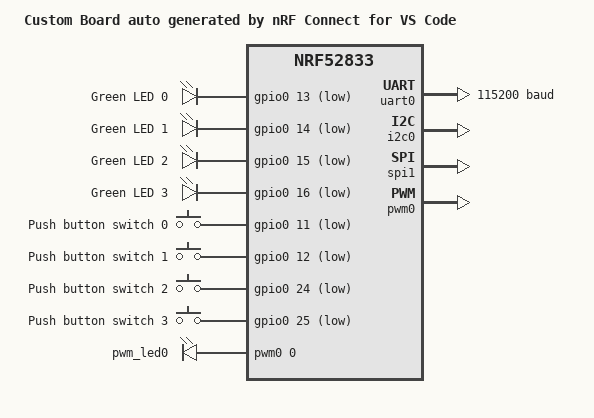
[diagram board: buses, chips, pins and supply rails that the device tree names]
/dts-v1/;
#include <nordic/nrf52833_qiaa.dtsi>
#include "devacademyl3e1-pinctrl.dtsi"
#include <zephyr/dt-bindings/input/input-event-codes.h>
/ {
	model = "Custom Board auto generated by nRF Connect for VS Code";
	compatible = "nordic,devacademyl3e1";

	chosen {
		zephyr,sram = &sram0;
		zephyr,flash = &flash0;
		zephyr,code-partition = &slot0_partition;
		zephyr,console =  &uart0 ;
		zephyr,shell-uart =  &uart0 ;
		zephyr,uart-mcumgr = &uart0;
	};


	leds {
		compatible = "gpio-leds";
		led0: led_0 {
			gpios = <&gpio0 13 GPIO_ACTIVE_LOW>;
			label = "Green LED 0";
		};
		led1: led_1 {
			gpios = <&gpio0 14 GPIO_ACTIVE_LOW>;
			label = "Green LED 1";
		};
		led2: led_2 {
			gpios = <&gpio0 15 GPIO_ACTIVE_LOW>;
			label = "Green LED 2";
		};
		led3: led_3 {
			gpios = <&gpio0 16 GPIO_ACTIVE_LOW>;
			label = "Green LED 3";
		};
	};	

	buttons {
		compatible = "gpio-keys";
		button0: button_0 {
			gpios = <&gpio0 11 (GPIO_PULL_UP | GPIO_ACTIVE_LOW)>;
			label = "Push button switch 0";
			zephyr,code = <INPUT_KEY_0>;
		};
		button1: button_1 {
			gpios = <&gpio0 12 (GPIO_PULL_UP | GPIO_ACTIVE_LOW)>;
			label = "Push button switch 1";
			zephyr,code = <INPUT_KEY_1>;
		};
		button2: button_2 {
			gpios = <&gpio0 24 (GPIO_PULL_UP | GPIO_ACTIVE_LOW)>;
			label = "Push button switch 2";
			zephyr,code = <INPUT_KEY_2>;
		};
		button3: button_3 {
			gpios = <&gpio0 25 (GPIO_PULL_UP | GPIO_ACTIVE_LOW)>;
			label = "Push button switch 3";
			zephyr,code = <INPUT_KEY_3>;
		};
	};

	pwmleds {
		compatible = "pwm-leds";
		pwm_led0: pwm_led_0 {
			pwms = <&pwm0 0 PWM_MSEC(20) PWM_POLARITY_INVERTED>;
		};
	};
	
	/* These aliases are provided for compatibility with samples */
	aliases {
		led0 = &led0;
		led1 = &led1;
		led2 = &led2;
		led3 = &led3;
		pwm-led0 = &pwm_led0;
		sw0 = &button0;
		sw1 = &button1;
		sw2 = &button2;
		sw3 = &button3;
		bootloader-led0 = &led0;
		mcuboot-button0 = &button0;
		mcuboot-led0 = &led0;
		watchdog0 = &wdt0;
	};		
};




&flash0 {
	partitions {
		compatible = "fixed-partitions";
		#address-cells = <1>;
		#size-cells = <1>;

		boot_partition: partition@0 {
			label = "mcuboot";
			reg = <0x00000000 DT_SIZE_K(48)>;
		};

		slot0_partition: partition@c000 {
			label = "image-0";
			reg = <0x0000c000 DT_SIZE_K(220)>;
		};

		slot1_partition: partition@43000 {
			label = "image-1";
			reg = <0x00043000 DT_SIZE_K(220)>;
		};

		storage_partition: partition@7a000 {
			label = "storage";
			reg = <0x0007a000 DT_SIZE_K(24)>;
		};
	};
};

&gpiote {
	status = "okay";
};

&gpio0 {
	status = "okay";
};

&gpio1 {
	status = "okay";
};

&uart0 {
	compatible = "nordic,nrf-uarte";
	status = "okay";
	current-speed = <115200>;
	pinctrl-0 = <&uart0_default>;
	pinctrl-1 = <&uart0_sleep>;
	pinctrl-names = "default", "sleep";
};

&i2c0 {
	compatible = "nordic,nrf-twi";
	status = "okay";
	pinctrl-0 = <&i2c0_default>;
	pinctrl-1 = <&i2c0_sleep>;
	pinctrl-names = "default", "sleep";
};

&spi1 {
	compatible = "nordic,nrf-spi";
	status = "okay";
	pinctrl-0 = <&spi1_default>;
	pinctrl-1 = <&spi1_sleep>;
	pinctrl-names = "default", "sleep";
};

&pwm0 {
	status = "okay";
	pinctrl-0 = <&pwm0_default>;
	pinctrl-1 = <&pwm0_sleep>;
	pinctrl-names = "default", "sleep";
};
